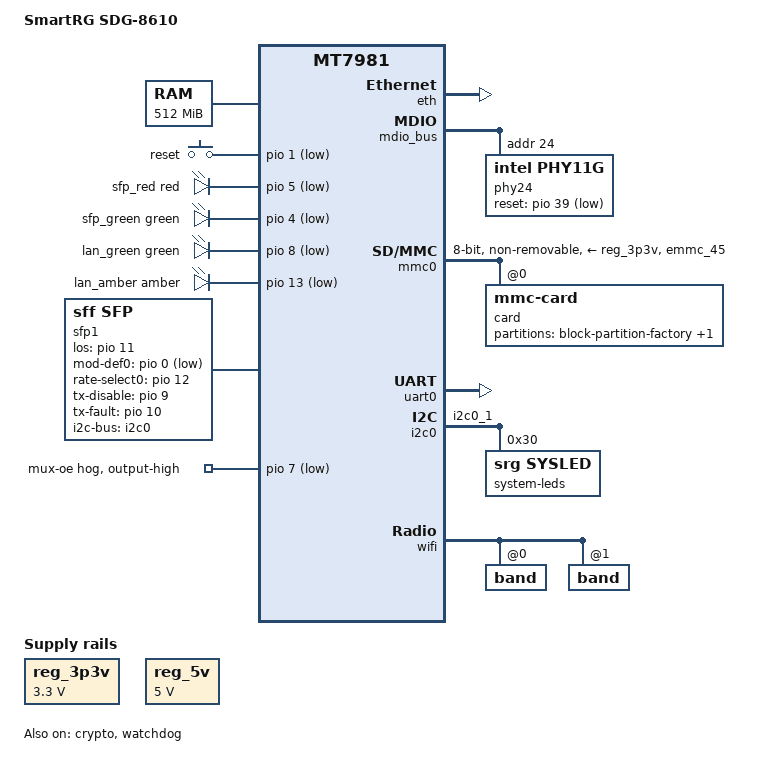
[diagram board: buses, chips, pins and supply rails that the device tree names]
// SPDX-License-Identifier: (GPL-2.0 OR MIT)
/*
 * Copyright (C) 2022 MediaTek Inc.
 * Author: Sam.Shih <sam.shih@mediatek.com>
 */

/dts-v1/;
#include "mt7981b.dtsi"

/ {
	model = "SmartRG SDG-8610";
	compatible = "smartrg,sdg-8610", "mediatek,mt7981";

	aliases {
		serial0 = &uart0;
		label-mac-device = &gmac0;
		led-boot = &led_sys_green;
		led-failsafe = &led_sys_blue;
		led-running = &led_sys_white;
		led-upgrade = &led_sys_red;
	};

	chosen {
		stdout-path = "serial0:115200n8";
	};

	memory@40000000 {
		reg = <0 0x40000000 0 0x20000000>;
		device_type = "memory";
	};

	reserved-memory {
		#address-cells = <2>;
		#size-cells = <2>;
		ranges;

		/delete-node/ramoops@42ff0000;

		bootdata_reserved: bootdata@45000000 {
			no-map;
			reg = <0x0 0x45000000 0x0 0x00001000>;
		};

		ramoops_reserved: ramoops@45001000 {
			no-map;
			compatible = "ramoops";
			reg = <0x0 0x45001000 0x0 0x00140000>;
			ftrace-size = <0x20000>;
			record-size = <0x20000>;
			console-size = <0x20000>;
			pmsg-size = <0x80000>;
		};
	};

	bootdata {
		compatible = "bootdata";
		memory-region = <&bootdata_reserved>;
	};

	reg_3p3v: regulator-3p3v {
		compatible = "regulator-fixed";
		regulator-name = "fixed-3.3V";
		regulator-min-microvolt = <3300000>;
		regulator-max-microvolt = <3300000>;
		regulator-boot-on;
		regulator-always-on;
	};

	reg_5v: regulator-5v {
		compatible = "regulator-fixed";
		regulator-name = "fixed-5V";
		regulator-min-microvolt = <5000000>;
		regulator-max-microvolt = <5000000>;
		regulator-boot-on;
		regulator-always-on;
	};

	gpio-keys {
		compatible = "gpio-keys";
		pinctrl-names = "default";
		pinctrl-0 = <&button_pins>;

		reset {
			label = "reset";
			linux,code = <KEY_RESTART>;
			gpios = <&pio 1 GPIO_ACTIVE_LOW>;
		};
	};

	leds: gpio-leds {
		compatible = "gpio-leds";

		sfp_red {
			color = <LED_COLOR_ID_RED>;
			function = "sfp";
			gpios = <&pio 5 GPIO_ACTIVE_LOW>;
		};

		sfp_green {
			color = <LED_COLOR_ID_GREEN>;
			function = "sfp";
			gpios = <&pio 4 GPIO_ACTIVE_LOW>;
		};

		lan_green {
			color = <LED_COLOR_ID_GREEN>;
			function = "lan";
			gpios = <&pio 8 GPIO_ACTIVE_LOW>;
			linux,default-trigger = "mdio-bus:00:1Gbps";
		};

		lan_amber {
			color = <LED_COLOR_ID_AMBER>;
			function = "lan";
			gpios = <&pio 13 GPIO_ACTIVE_LOW>;
			linux,default-trigger = "mdio-bus:00:100Mbps";
		};
	};

	sfp1: sfp1 {
		compatible = "sff,sfp";
		i2c-bus = <&i2c0>;
		los-gpios = <&pio 11 GPIO_ACTIVE_HIGH>;
		mod-def0-gpios = <&pio 0 GPIO_ACTIVE_LOW>;
		rate-select0-gpios = <&pio 12 GPIO_ACTIVE_HIGH>;
		tx-disable-gpios = <&pio 9 GPIO_ACTIVE_HIGH>;
		tx-fault-gpios = <&pio 10 GPIO_ACTIVE_HIGH>;
		maximum-power-milliwatt = <3000>;
	};
};

&eth {
	pinctrl-names = "default";
	pinctrl-0 = <&mdio_pins>;
	status = "okay";

	gmac0: mac@0 {
		nvmem-cells = <&macaddr 0x0>;
		nvmem-cell-names = "mac-address";
		label = "wan";
		compatible = "mediatek,eth-mac";
		reg = <0>;

		phy-mode = "sgmii";
		phy-handle = <&phy24>;
		managed = "in-band-status";
	};

	gmac1: mac@1 {
		nvmem-cells = <&macaddr 0x1>;
		nvmem-cell-names = "mac-address";
        label = "lan";
		compatible = "mediatek,eth-mac";
		reg = <1>;

		phy-mode = "gmii";
		phy-handle = <&int_gbe_phy>;
	};

	mux: mux-bus {
		#address-cells = <1>;
		#size-cells = <0>;

		mux0: ethernet-mux@0 {
			#address-cells = <1>;
			#size-cells = <0>;
			compatible = "mediatek,eth-mux";
			reg = <0>;
			label = "wan";

			chan-sel-gpios = <&pio 6 GPIO_ACTIVE_LOW>;
			mod-def0-gpios = <&pio 0 GPIO_ACTIVE_LOW>;

			channel0: channel@0 {
				reg = <0>;
				phy-mode = "sgmii";
				phy-handle = <&phy24>;
				managed = "in-band-status";
			};

			channel1: channel@1 {
				reg = <1>;
				phy-mode = "2500base-x";
				sfp = <&sfp1>;
				managed = "in-band-status";
			};
		};
	};
};

&mdio_bus {
	phy24: ethernet-phy@24 {
		/* PEF7071 */
		compatible = "intel,phy11g", "ethernet-phy-ieee802.3-c22";
		reg = <0x18>;

		reset-gpios = <&pio 39 GPIO_ACTIVE_LOW>;
		reset-assert-us = <10000>;
		reset-deassert-us = <20000>;
	};
};

&crypto {
	status = "okay";
};

&pio {
	button_pins: button-pins {
		pins = "GPIO_RESET";
		bias-disable;
	};

	i2c0_pins: i2c0-pins {
		mux {
			function = "i2c";
			groups =  "i2c0_1";
		};
	};

	mmc0_pins_default: mmc0-pins-default {
		mux {
			function = "flash";
			groups = "emmc_45";
		};
	};

	mmc0_pins_uhs: mmc0-pins-uhs {
		mux {
			function = "flash";
			groups = "emmc_45";
		};
	};

	mux_oe: mux-oe-hog {
		gpio-hog;
		gpios = <7 GPIO_ACTIVE_LOW>;
		line-name = "mux-oe";
		output-high;
	};
};

&mmc0 {
	pinctrl-names = "default", "state_uhs";
	pinctrl-0 = <&mmc0_pins_default>;
	pinctrl-1 = <&mmc0_pins_uhs>;
	bus-width = <8>;
	max-frequency = <52000000>;
	cap-mmc-highspeed;
	vmmc-supply = <&reg_3p3v>;
	non-removable;
	status = "okay";
	#address-cells = <1>;
	#size-cells = <0>;

	card@0 {
		#address-cells = <0>;
		#size-cells = <0>;
		compatible = "mmc-card";
		reg = <0>;

		block {
			compatible = "block-device";

			partitions {
				block-partition-factory {
					partname = "factory";

					nvmem-layout {
						compatible = "fixed-layout";
						#address-cells = <1>;
						#size-cells = <1>;

						eeprom_factory_0: eeprom@0 {
							reg = <0x0 0x1000>;
						};
					};
				};

				block-partition-mfginfo {
					partname = "mfginfo";

					nvmem-layout {
						compatible = "adtran,mfginfo";

						macaddr: mfg-mac {
							#nvmem-cell-cells = <1>;
						};
					};
				};
			};
		};
	};
};

&uart0 {
	status = "okay";
};

&i2c0 {
	pinctrl-names = "default";
	pinctrl-0 = <&i2c0_pins>;
	status = "okay";

	system-leds@30 {
		compatible = "srg,sysled";
		reg = <0x30>;
		#address-cells = <1>;
		#size-cells = <0>;

		led_sys_red: system_red {
			label = "red";
			reg = <1>;
		};

		led_sys_green: system_green {
			label = "green";
			reg = <2>;
		};

		led_sys_blue: system_blue {
			label = "blue";
			reg = <3>;
		};

		led_sys_white: system_white {
			label = "white";
			reg = <4>;
		};
	};
};

&watchdog {
	status = "okay";
};

&wifi {
	nvmem-cells = <&eeprom_factory_0>;
	nvmem-cell-names = "eeprom";
	status = "okay";
	#address-cells = <1>;
	#size-cells = <0>;

	ieee80211-freq-limit = <2400000 2500000>, <5170000 5835000>;

	band@0 {
		/* 2.4 GHz */
		reg = <0>;
		nvmem-cells = <&macaddr 0x4>;
		nvmem-cell-names = "mac-address";
	};

	band@1 {
		/* 5 GHz */
		reg = <1>;
		nvmem-cells = <&macaddr 0xa>;
		nvmem-cell-names = "mac-address";
	};
};
